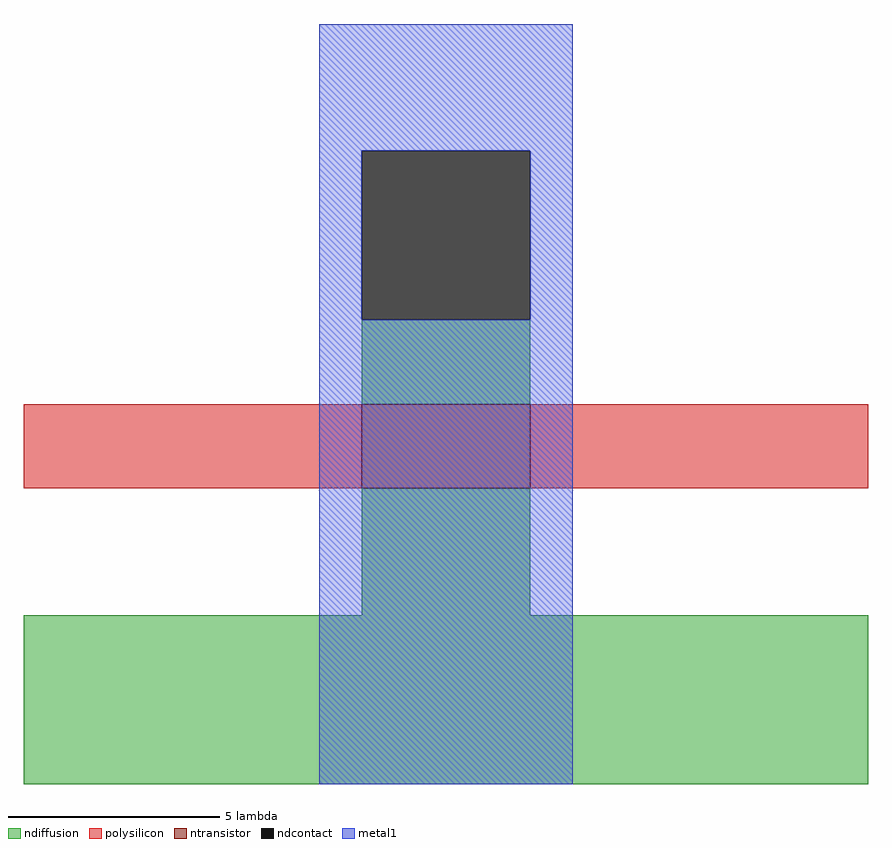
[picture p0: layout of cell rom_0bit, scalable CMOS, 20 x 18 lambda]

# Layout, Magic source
magic
tech scmos
<< polysilicon >>
rect -21 3 -13 5
rect -9 3 -1 5
<< ndiffusion >>
rect -13 5 -9 7
rect -13 0 -9 3
rect -21 -4 -1 0
<< metal1 >>
rect -14 11 -8 14
rect -14 7 -13 11
rect -9 7 -8 11
rect -14 -4 -8 7
<< ntransistor >>
rect -13 3 -9 5
<< ndcontact >>
rect -13 7 -9 11
<< end >>
